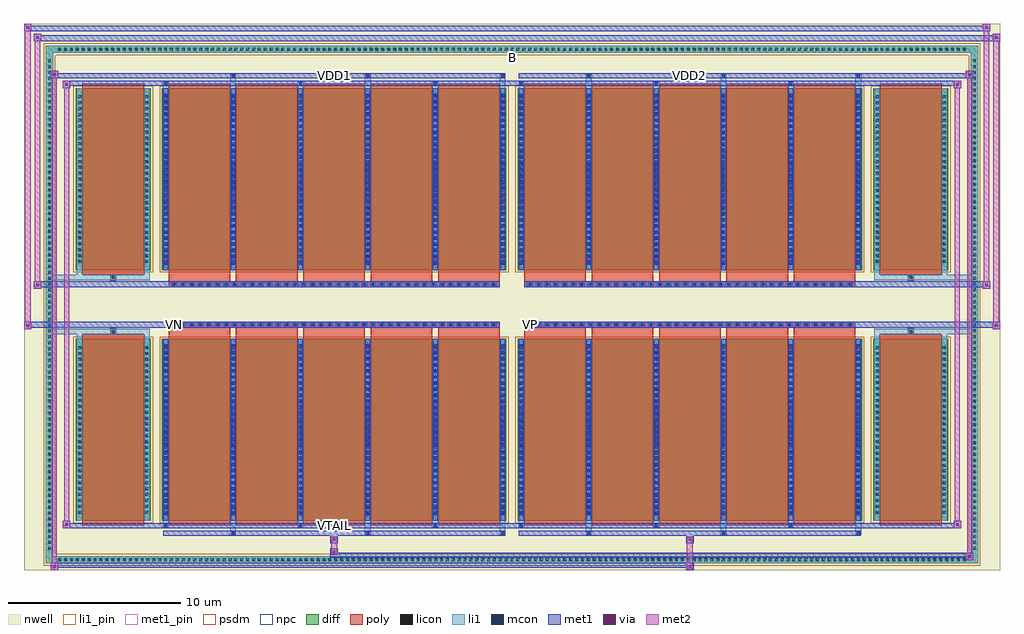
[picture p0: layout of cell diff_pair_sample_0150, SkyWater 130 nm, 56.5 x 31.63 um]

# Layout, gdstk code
import gdstk
lib = gdstk.Library(unit=1e-6, precision=5e-09)
def R(c, l, rs):  # rectangles x0, y0, x1, y1
    for r in rs: c.add(gdstk.rectangle(r[:2], r[2:], *l))
def A(c, l, x, y, w, h, nx, ny, dx, dy):  # array of equal rectangles
    R(c, l, [(x+i*dx, y+j*dy, x+i*dx+w, y+j*dy+h) for i in range(nx) for j in range(ny)])
def P(c, l, *ps):  # polygons
    for p in ps: c.add(gdstk.Polygon(p, *l))
nwell = (64, 20)
diff = (65, 20)
poly = (66, 20)
licon = (66, 44)
li1_pin = (67, 16)
li1 = (67, 20)
mcon = (67, 44)
met1_pin = (68, 16)
met1 = (68, 20)
via = (68, 44)
met2 = (69, 20)
psdm = (94, 20)
npc = (95, 20)

diff_pair_sample_0150 = lib.new_cell('diff_pair_sample_0150')
R(diff_pair_sample_0150, nwell, [(-28.25,-15.38,28.25,16.25), (-25.57,-13.57,-0.01,-0.805), (0.01,-13.57,25.57,-0.805), (-25.57,0.805,-0.01,13.57), (0.01,0.805,25.57,13.57)])
A(diff_pair_sample_0150, diff, -26.385, -14.98, 0.41, 0.41, 155, 2, 0.34, 29.55)
A(diff_pair_sample_0150, diff, -26.98, -14.315, 0.41, 0.41, 1, 84, 0, 0.34)
A(diff_pair_sample_0150, diff, 26.57, -14.315, 0.41, 0.41, 1, 84, 0, 0.34)
R(diff_pair_sample_0150, diff, [(-26.385,-14.98,26.385,-14.57), (-26.98,-14.315,-26.57,14.315), (26.57,-14.315,26.98,14.315), (-25.26,-12.525,-20.91,-1.985), (-20.27,-12.525,-0.32,-1.985), (0.32,-12.525,20.27,-1.985), (20.91,-12.525,25.26,-1.985), (-25.26,1.985,-20.91,12.525), (-20.27,1.985,-0.32,12.525), (0.32,1.985,20.27,12.525), (20.91,1.985,25.26,12.525), (-26.385,14.57,26.385,14.98)])
P(diff_pair_sample_0150, diff, [(26.98,14.98),(-26.98,14.98),(-26.98,-14.57),(-26.57,-14.57),(-26.57,14.57),(26.57,14.57),(26.57,-14.57),(-26.57,-14.57),(-26.98,-14.57),(-26.98,-14.98),(26.98,-14.98)])
A(diff_pair_sample_0150, poly, -19.88, -12.775, 3.57, 11.04, 5, 2, 3.9, 14.51)
A(diff_pair_sample_0150, poly, 0.71, -12.775, 3.57, 11.04, 5, 2, 3.9, 14.51)
A(diff_pair_sample_0150, poly, -19.88, -1.735, 3.57, 0.4, 5, 2, 3.9, 3.07)
A(diff_pair_sample_0150, poly, 0.71, -1.735, 3.57, 0.4, 5, 2, 3.9, 3.07)
A(diff_pair_sample_0150, poly, -19.71, -1.335, 0.33, 0.33, 38, 2, 0.5, 2.34)
A(diff_pair_sample_0150, poly, 0.88, -1.335, 0.33, 0.33, 38, 2, 0.5, 2.34)
R(diff_pair_sample_0150, poly, [(-24.87,-12.775,-21.3,-1.735), (21.3,-12.775,24.87,-1.735), (-23.25,-1.735,-22.92,-1.405), (-23.25,-1.735,-22.92,-1.405), (22.92,-1.735,23.25,-1.405), (22.92,-1.735,23.25,-1.405), (-19.88,-1.335,-0.71,-1.005), (0.71,-1.335,19.88,-1.005), (-19.88,1.005,-0.71,1.335), (0.71,1.005,19.88,1.335), (-23.25,1.405,-22.92,1.735), (-23.25,1.405,-22.92,1.735), (22.92,1.405,23.25,1.735), (22.92,1.405,23.25,1.735), (-24.87,1.735,-21.3,12.775), (21.3,1.735,24.87,12.775)])
A(diff_pair_sample_0150, licon, -26.265, -14.86, 0.17, 0.17, 155, 2, 0.34, 29.55)
A(diff_pair_sample_0150, licon, -26.86, -14.195, 0.17, 0.17, 1, 84, 0, 0.34)
A(diff_pair_sample_0150, licon, 26.69, -14.195, 0.17, 0.17, 1, 84, 0, 0.34)
A(diff_pair_sample_0150, licon, -25.12, -12.1, 0.17, 0.17, 1, 29, 0, 0.34)
A(diff_pair_sample_0150, licon, -21.22, -12.1, 0.17, 0.17, 1, 29, 0, 0.34)
A(diff_pair_sample_0150, licon, -20.13, -12.1, 0.17, 0.17, 6, 29, 3.9, 0.34)
A(diff_pair_sample_0150, licon, 0.46, -12.1, 0.17, 0.17, 6, 29, 3.9, 0.34)
A(diff_pair_sample_0150, licon, 21.05, -12.1, 0.17, 0.17, 1, 29, 0, 0.34)
A(diff_pair_sample_0150, licon, 24.95, -12.1, 0.17, 0.17, 1, 29, 0, 0.34)
A(diff_pair_sample_0150, licon, -19.63, -1.255, 0.17, 0.17, 38, 2, 0.5, 2.34)
A(diff_pair_sample_0150, licon, 0.96, -1.255, 0.17, 0.17, 38, 2, 0.5, 2.34)
A(diff_pair_sample_0150, licon, -25.12, 2.41, 0.17, 0.17, 1, 29, 0, 0.34)
A(diff_pair_sample_0150, licon, -21.22, 2.41, 0.17, 0.17, 1, 29, 0, 0.34)
A(diff_pair_sample_0150, licon, -20.13, 2.41, 0.17, 0.17, 6, 29, 3.9, 0.34)
A(diff_pair_sample_0150, licon, 0.46, 2.41, 0.17, 0.17, 6, 29, 3.9, 0.34)
A(diff_pair_sample_0150, licon, 21.05, 2.41, 0.17, 0.17, 1, 29, 0, 0.34)
A(diff_pair_sample_0150, licon, 24.95, 2.41, 0.17, 0.17, 1, 29, 0, 0.34)
R(diff_pair_sample_0150, licon, [(-23.17,-1.655,-23,-1.485), (23,-1.655,23.17,-1.485), (-23.17,1.485,-23,1.655), (23,1.485,23.17,1.655)])
R(diff_pair_sample_0150, li1_pin, [(-0.25,14.07,0.25,14.57)])
A(diff_pair_sample_0150, li1, -26.345, -14.94, 0.33, 0.33, 155, 2, 0.34, 29.55)
A(diff_pair_sample_0150, li1, -26.94, -14.275, 0.33, 0.33, 1, 84, 0, 0.34)
A(diff_pair_sample_0150, li1, 26.61, -14.275, 0.33, 0.33, 1, 84, 0, 0.34)
A(diff_pair_sample_0150, li1, -16.31, -13.33, 0.33, 0.805, 3, 2, 7.8, 25.855)
A(diff_pair_sample_0150, li1, -16.23, -13.33, 0.17, 0.17, 3, 2, 7.8, 26.49)
A(diff_pair_sample_0150, li1, 4.28, -13.33, 0.33, 0.805, 3, 2, 7.8, 25.855)
A(diff_pair_sample_0150, li1, 4.36, -13.33, 0.17, 0.17, 3, 2, 7.8, 26.49)
A(diff_pair_sample_0150, li1, -20.21, -12.9, 0.33, 0.375, 3, 2, 7.8, 25.425)
A(diff_pair_sample_0150, li1, -20.13, -12.9, 0.17, 0.17, 3, 2, 7.8, 25.63)
A(diff_pair_sample_0150, li1, 0.38, -12.9, 0.33, 0.375, 3, 2, 7.8, 25.425)
A(diff_pair_sample_0150, li1, 0.46, -12.9, 0.17, 0.17, 3, 2, 7.8, 25.63)
A(diff_pair_sample_0150, li1, -20.21, -12.525, 0.33, 10.54, 6, 2, 3.9, 14.51)
A(diff_pair_sample_0150, li1, 0.38, -12.525, 0.33, 10.54, 6, 2, 3.9, 14.51)
A(diff_pair_sample_0150, li1, -20.13, -12.2, 0.17, 0.17, 6, 28, 3.9, 0.36)
A(diff_pair_sample_0150, li1, -20.13, -12.2, 0.17, 9.89, 6, 2, 3.9, 14.51)
A(diff_pair_sample_0150, li1, 0.46, -12.2, 0.17, 0.17, 6, 28, 3.9, 0.36)
A(diff_pair_sample_0150, li1, 0.46, -12.2, 0.17, 9.89, 6, 2, 3.9, 14.51)
A(diff_pair_sample_0150, li1, -25.2, -12.18, 0.33, 0.33, 1, 29, 0, 0.34)
A(diff_pair_sample_0150, li1, -21.3, -12.18, 0.33, 0.33, 1, 29, 0, 0.34)
A(diff_pair_sample_0150, li1, -20.21, -12.18, 0.33, 0.33, 6, 29, 3.9, 0.34)
A(diff_pair_sample_0150, li1, 0.38, -12.18, 0.33, 0.33, 6, 29, 3.9, 0.34)
A(diff_pair_sample_0150, li1, 20.97, -12.18, 0.33, 0.33, 1, 29, 0, 0.34)
A(diff_pair_sample_0150, li1, 24.87, -12.18, 0.33, 0.33, 1, 29, 0, 0.34)
A(diff_pair_sample_0150, li1, -19.71, -1.335, 0.33, 0.33, 38, 2, 0.5, 2.34)
A(diff_pair_sample_0150, li1, 0.88, -1.335, 0.33, 0.33, 38, 2, 0.5, 2.34)
A(diff_pair_sample_0150, li1, -20.13, 2.31, 0.17, 0.17, 6, 28, 3.9, 0.36)
A(diff_pair_sample_0150, li1, 0.46, 2.31, 0.17, 0.17, 6, 28, 3.9, 0.36)
A(diff_pair_sample_0150, li1, -25.2, 2.33, 0.33, 0.33, 1, 29, 0, 0.34)
A(diff_pair_sample_0150, li1, -21.3, 2.33, 0.33, 0.33, 1, 29, 0, 0.34)
A(diff_pair_sample_0150, li1, -20.21, 2.33, 0.33, 0.33, 6, 29, 3.9, 0.34)
A(diff_pair_sample_0150, li1, 0.38, 2.33, 0.33, 0.33, 6, 29, 3.9, 0.34)
A(diff_pair_sample_0150, li1, 20.97, 2.33, 0.33, 0.33, 1, 29, 0, 0.34)
A(diff_pair_sample_0150, li1, 24.87, 2.33, 0.33, 0.33, 1, 29, 0, 0.34)
R(diff_pair_sample_0150, li1, [(-26.98,-14.98,-26.57,-14.57), (-26.98,-14.98,-26.57,-14.57), (-26.57,-14.98,26.57,-14.57), (26.57,-14.98,26.98,-14.57), (26.57,-14.98,26.98,-14.57), (-26.98,-14.57,-26.57,14.57), (26.57,-14.57,26.98,14.57), (-25.2,-12.525,-24.87,-1.985), (-21.3,-12.525,-20.97,-1.985), (20.97,-12.525,21.3,-1.985), (24.87,-12.525,25.2,-1.985), (-25.2,-1.985,-24.87,-1.405), (-21.3,-1.985,-20.97,-1.405), (20.97,-1.985,21.3,-1.405), (24.87,-1.985,25.2,-1.405), (-26.98,-1.735,-23.25,-1.405), (-25.2,-1.735,-23.25,-1.405), (-23.25,-1.735,-22.92,-1.405), (-22.92,-1.735,-20.97,-1.405), (20.97,-1.735,22.92,-1.405), (22.92,-1.735,23.25,-1.405), (22.92,-1.735,26.98,-1.405), (23.25,-1.735,25.2,-1.405), (-26.98,1.405,-23.25,1.735), (-25.2,1.405,-23.25,1.735), (-25.2,1.405,-24.87,1.985), (-23.25,1.405,-22.92,1.735), (-22.92,1.405,-20.97,1.735), (-21.3,1.405,-20.97,1.985), (20.97,1.405,22.92,1.735), (20.97,1.405,21.3,1.985), (22.92,1.405,23.25,1.735), (22.92,1.405,26.98,1.735), (23.25,1.405,25.2,1.735), (24.87,1.405,25.2,1.985), (-25.2,1.985,-24.87,12.525), (-21.3,1.985,-20.97,12.525), (20.97,1.985,21.3,12.525), (24.87,1.985,25.2,12.525), (-26.98,14.57,-26.57,14.98), (-26.98,14.57,-26.57,14.98), (-26.57,14.57,26.57,14.98), (26.57,14.57,26.98,14.98), (26.57,14.57,26.98,14.98)])
A(diff_pair_sample_0150, mcon, -16.23, -13.33, 0.17, 0.17, 3, 2, 7.8, 26.49)
A(diff_pair_sample_0150, mcon, 4.36, -13.33, 0.17, 0.17, 3, 2, 7.8, 26.49)
A(diff_pair_sample_0150, mcon, -20.13, -12.9, 0.17, 0.17, 3, 2, 7.8, 25.63)
A(diff_pair_sample_0150, mcon, 0.46, -12.9, 0.17, 0.17, 3, 2, 7.8, 25.63)
A(diff_pair_sample_0150, mcon, -20.13, -12.2, 0.17, 0.17, 6, 28, 3.9, 0.36)
A(diff_pair_sample_0150, mcon, 0.46, -12.2, 0.17, 0.17, 6, 28, 3.9, 0.36)
A(diff_pair_sample_0150, mcon, -19.63, -1.255, 0.17, 0.17, 38, 2, 0.5, 2.34)
A(diff_pair_sample_0150, mcon, 0.96, -1.255, 0.17, 0.17, 38, 2, 0.5, 2.34)
A(diff_pair_sample_0150, mcon, -20.13, 2.31, 0.17, 0.17, 6, 28, 3.9, 0.36)
A(diff_pair_sample_0150, mcon, 0.46, 2.31, 0.17, 0.17, 6, 28, 3.9, 0.36)
R(diff_pair_sample_0150, met1_pin, [(-10.43,-12.94,-10.16,-12.67), (-19.68,-1.295,-19.41,-1.025), (0.91,-1.295,1.18,-1.025), (-10.43,13.12,-10.16,13.39), (10.16,13.12,10.43,13.39)])
A(diff_pair_sample_0150, met1, -16.29, -13.39, 0.29, 0.29, 3, 2, 7.8, 26.49)
A(diff_pair_sample_0150, met1, 4.3, -13.39, 0.29, 0.29, 3, 2, 7.8, 26.49)
A(diff_pair_sample_0150, met1, -20.19, -12.96, 0.29, 0.29, 3, 2, 7.8, 25.63)
A(diff_pair_sample_0150, met1, 0.4, -12.96, 0.29, 0.29, 3, 2, 7.8, 25.63)
A(diff_pair_sample_0150, met1, -20.19, -12.525, 0.29, 10.54, 6, 2, 3.9, 14.51)
A(diff_pair_sample_0150, met1, 0.4, -12.525, 0.29, 10.54, 6, 2, 3.9, 14.51)
A(diff_pair_sample_0150, met1, -20.19, -12.26, 0.29, 0.29, 6, 28, 3.9, 0.36)
A(diff_pair_sample_0150, met1, 0.4, -12.26, 0.29, 0.29, 6, 28, 3.9, 0.36)
A(diff_pair_sample_0150, met1, -19.69, -1.315, 0.29, 0.29, 38, 2, 0.5, 2.34)
A(diff_pair_sample_0150, met1, 0.9, -1.315, 0.29, 0.29, 38, 2, 0.5, 2.34)
A(diff_pair_sample_0150, met1, -20.19, 2.25, 0.29, 0.29, 6, 28, 3.9, 0.36)
A(diff_pair_sample_0150, met1, 0.4, 2.25, 0.29, 0.29, 6, 28, 3.9, 0.36)
R(diff_pair_sample_0150, met1, [(-26.71,-15.38,-26.28,-14.95), (10.08,-15.38,10.51,-14.95), (-26.71,-15.24,10.51,-14.95), (26.28,-14.81,26.71,-14.38), (-10.51,-14.67,26.71,-14.38), (-10.51,-14.53,-10.08,-14.1), (-10.51,-13.82,-10.08,-13.39), (10.08,-13.82,10.51,-13.39), (-20.19,-13.39,-0.4,-13.1), (0.4,-13.39,20.19,-13.1), (-26,-12.96,-25.57,-12.53), (-26,-12.96,-20.19,-12.67), (-20.19,-12.96,-0.4,-12.67), (-0.4,-12.96,0.4,-12.67), (0.4,-12.96,20.19,-12.67), (20.19,-12.96,26,-12.67), (25.57,-12.96,26,-12.53), (-28.25,-1.435,-27.82,-1.005), (27.82,-1.435,28.25,-1.005), (-28.25,-1.335,-0.71,-1.005), (-19.88,-1.335,-0.71,-1.005), (0.71,-1.335,19.88,-1.005), (0.71,-1.335,28.25,-1.005), (-27.68,0.905,-27.25,1.335), (27.25,0.905,27.68,1.335), (-27.68,1.005,-19.88,1.335), (-19.88,1.005,-0.71,1.335), (0.71,1.005,19.88,1.335), (19.88,1.005,27.68,1.335), (-26,12.53,-25.57,12.96), (25.57,12.53,26,12.96), (-26,12.67,-20.19,12.96), (-20.19,12.67,-0.4,12.96), (-0.4,12.67,0.4,12.96), (0.4,12.67,20.19,12.96), (20.19,12.67,26,12.96), (-26.71,13.1,-26.28,13.53), (-26.71,13.1,-20.19,13.39), (-20.19,13.1,-0.4,13.39), (0.4,13.1,20.19,13.39), (20.19,13.1,26.71,13.39), (26.28,13.1,26.71,13.53), (-27.68,15.25,-27.25,15.68), (-27.68,15.25,-25.57,15.58), (-25.57,15.25,25.57,15.58), (25.57,15.25,28.25,15.58), (27.82,15.25,28.25,15.68), (-28.25,15.82,-27.82,16.25), (-28.25,15.82,-25.57,16.15), (-25.57,15.82,25.57,16.15), (25.57,15.82,27.68,16.15), (27.25,15.82,27.68,16.25)])
R(diff_pair_sample_0150, via, [(-26.57,-15.24,-26.42,-15.09), (10.22,-15.24,10.37,-15.09), (26.42,-14.67,26.57,-14.52), (-10.37,-14.39,-10.22,-14.24), (-10.37,-13.68,-10.22,-13.53), (10.22,-13.68,10.37,-13.53), (-25.86,-12.82,-25.71,-12.67), (25.71,-12.82,25.86,-12.67), (-28.11,-1.295,-27.96,-1.145), (27.96,-1.295,28.11,-1.145), (-27.54,1.045,-27.39,1.195), (27.39,1.045,27.54,1.195), (-25.86,12.67,-25.71,12.82), (25.71,12.67,25.86,12.82), (-26.57,13.24,-26.42,13.39), (26.42,13.24,26.57,13.39), (-27.54,15.39,-27.39,15.54), (27.96,15.39,28.11,15.54), (-28.11,15.96,-27.96,16.11), (27.39,15.96,27.54,16.11)])
R(diff_pair_sample_0150, met2, [(-26.71,-15.38,-26.28,-14.95), (-26.64,-15.38,-26.35,13.53), (-26.35,-15.38,-26.28,-14.95), (-26.66,-15.33,-26.33,-15), (10.13,-15.33,10.46,-15), (10.13,-15,10.46,-13.77), (26.28,-14.81,26.71,-14.38), (26.35,-14.81,26.64,13.53), (26.64,-14.81,26.71,-14.38), (26.33,-14.76,26.66,-14.43), (-10.46,-14.48,-10.13,-14.15), (-10.46,-14.15,-10.13,-13.77), (-10.46,-13.77,-10.13,-13.44), (10.13,-13.77,10.46,-13.44), (-26,-12.96,-25.57,-12.53), (-25.93,-12.96,-25.64,12.96), (-25.64,-12.96,-25.57,-12.53), (25.57,-12.96,26,-12.53), (25.64,-12.96,25.93,12.96), (25.93,-12.96,26,-12.53), (-25.95,-12.91,-25.62,-12.58), (25.62,-12.91,25.95,-12.58), (-28.25,-1.435,-27.82,-1.005), (-28.2,-1.435,-27.87,16.25), (-27.87,-1.435,-27.82,-1.005), (27.82,-1.435,28.25,-1.005), (27.87,-1.435,28.2,15.68), (28.2,-1.435,28.25,-1.005), (-28.2,-1.385,-27.87,-1.055), (27.87,-1.385,28.2,-1.055), (-27.68,0.905,-27.25,1.335), (-27.63,0.905,-27.3,15.68), (-27.3,0.905,-27.25,1.335), (27.25,0.905,27.68,1.335), (27.3,0.905,27.63,16.25), (27.63,0.905,27.68,1.335), (-27.63,0.955,-27.3,1.285), (27.3,0.955,27.63,1.285), (-26,12.53,-25.57,12.96), (-25.64,12.53,-25.57,12.96), (25.57,12.53,26,12.96), (25.93,12.53,26,12.96), (-25.95,12.58,-25.62,12.91), (25.62,12.58,25.95,12.91), (-26.71,13.1,-26.28,13.53), (-26.35,13.1,-26.28,13.53), (26.28,13.1,26.71,13.53), (26.64,13.1,26.71,13.53), (-26.66,13.15,-26.33,13.48), (26.33,13.15,26.66,13.48), (-27.68,15.25,-27.25,15.68), (-27.3,15.25,-27.25,15.68), (27.82,15.25,28.25,15.68), (28.2,15.25,28.25,15.68), (-27.63,15.3,-27.3,15.63), (27.87,15.3,28.2,15.63), (-28.25,15.82,-27.82,16.25), (-27.87,15.82,-27.82,16.25), (27.25,15.82,27.68,16.25), (27.63,15.82,27.68,16.25), (-28.2,15.87,-27.87,16.2), (27.3,15.87,27.63,16.2)])
R(diff_pair_sample_0150, psdm, [(-25.39,-12.655,-20.78,-1.855), (-20.4,-12.655,-0.19,-1.855), (0.19,-12.655,20.4,-1.855), (20.78,-12.655,25.39,-1.855), (-25.39,1.855,-20.78,12.655), (-20.4,1.855,-0.19,12.655), (0.19,1.855,20.4,12.655), (20.78,1.855,25.39,12.655)])
P(diff_pair_sample_0150, psdm, [(27.11,15.11),(-27.11,15.11),(-27.11,-14.44),(-26.44,-14.44),(-26.44,14.44),(26.44,14.44),(26.44,-14.44),(-26.44,-14.44),(-27.11,-14.44),(-27.11,-15.11),(27.11,-15.11)])
A(diff_pair_sample_0150, npc, -19.73, -1.355, 0.37, 0.37, 38, 2, 0.5, 2.34)
A(diff_pair_sample_0150, npc, 0.86, -1.355, 0.37, 0.37, 38, 2, 0.5, 2.34)
R(diff_pair_sample_0150, npc, [(-23.27,-1.755,-22.9,-1.385), (22.9,-1.755,23.27,-1.385), (-19.73,-1.355,-18.86,-0.985), (-19.73,-1.355,-18.86,-0.985), (-19.23,-1.355,-18.36,-0.985), (-19.23,-1.355,-18.36,-0.985), (-18.73,-1.355,-17.86,-0.985), (-18.73,-1.355,-17.86,-0.985), (-18.23,-1.355,-17.36,-0.985), (-18.23,-1.355,-17.36,-0.985), (-17.73,-1.355,-16.86,-0.985), (-17.73,-1.355,-16.86,-0.985), (-17.23,-1.355,-16.36,-0.985), (-17.23,-1.355,-16.36,-0.985), (-16.73,-1.355,-15.86,-0.985), (-16.73,-1.355,-15.86,-0.985), (-16.23,-1.355,-15.36,-0.985), (-16.23,-1.355,-15.36,-0.985), (-15.73,-1.355,-14.86,-0.985), (-15.73,-1.355,-14.86,-0.985), (-15.23,-1.355,-14.36,-0.985), (-15.23,-1.355,-14.36,-0.985), (-14.73,-1.355,-13.86,-0.985), (-14.73,-1.355,-13.86,-0.985), (-14.23,-1.355,-13.36,-0.985), (-14.23,-1.355,-13.36,-0.985), (-13.73,-1.355,-12.86,-0.985), (-13.73,-1.355,-12.86,-0.985), (-13.23,-1.355,-12.36,-0.985), (-13.23,-1.355,-12.36,-0.985), (-12.73,-1.355,-11.86,-0.985), (-12.73,-1.355,-11.86,-0.985), (-12.23,-1.355,-11.36,-0.985), (-12.23,-1.355,-11.36,-0.985), (-11.73,-1.355,-10.86,-0.985), (-11.73,-1.355,-10.86,-0.985), (-11.23,-1.355,-10.36,-0.985), (-11.23,-1.355,-10.36,-0.985), (-10.73,-1.355,-9.86,-0.985), (-10.73,-1.355,-9.86,-0.985), (-10.23,-1.355,-9.36,-0.985), (-10.23,-1.355,-9.36,-0.985), (-9.73,-1.355,-8.86,-0.985), (-9.73,-1.355,-8.86,-0.985), (-9.23,-1.355,-8.36,-0.985), (-9.23,-1.355,-8.36,-0.985), (-8.73,-1.355,-7.86,-0.985), (-8.73,-1.355,-7.86,-0.985), (-8.23,-1.355,-7.36,-0.985), (-8.23,-1.355,-7.36,-0.985), (-7.73,-1.355,-6.86,-0.985), (-7.73,-1.355,-6.86,-0.985), (-7.23,-1.355,-6.36,-0.985), (-7.23,-1.355,-6.36,-0.985), (-6.73,-1.355,-5.86,-0.985), (-6.73,-1.355,-5.86,-0.985), (-6.23,-1.355,-5.36,-0.985), (-6.23,-1.355,-5.36,-0.985), (-5.73,-1.355,-4.86,-0.985), (-5.73,-1.355,-4.86,-0.985), (-5.23,-1.355,-4.36,-0.985), (-5.23,-1.355,-4.36,-0.985), (-4.73,-1.355,-3.86,-0.985), (-4.73,-1.355,-3.86,-0.985), (-4.23,-1.355,-3.36,-0.985), (-4.23,-1.355,-3.36,-0.985), (-3.73,-1.355,-2.86,-0.985), (-3.73,-1.355,-2.86,-0.985), (-3.23,-1.355,-2.36,-0.985), (-3.23,-1.355,-2.36,-0.985), (-2.73,-1.355,-1.86,-0.985), (-2.73,-1.355,-1.86,-0.985), (-2.23,-1.355,-1.36,-0.985), (-2.23,-1.355,-1.36,-0.985), (-1.73,-1.355,-0.86,-0.985), (-1.73,-1.355,-0.86,-0.985), (0.86,-1.355,1.73,-0.985), (0.86,-1.355,1.73,-0.985), (1.36,-1.355,2.23,-0.985), (1.36,-1.355,2.23,-0.985), (1.86,-1.355,2.73,-0.985), (1.86,-1.355,2.73,-0.985), (2.36,-1.355,3.23,-0.985), (2.36,-1.355,3.23,-0.985), (2.86,-1.355,3.73,-0.985), (2.86,-1.355,3.73,-0.985), (3.36,-1.355,4.23,-0.985), (3.36,-1.355,4.23,-0.985), (3.86,-1.355,4.73,-0.985), (3.86,-1.355,4.73,-0.985), (4.36,-1.355,5.23,-0.985), (4.36,-1.355,5.23,-0.985), (4.86,-1.355,5.73,-0.985), (4.86,-1.355,5.73,-0.985), (5.36,-1.355,6.23,-0.985), (5.36,-1.355,6.23,-0.985), (5.86,-1.355,6.73,-0.985), (5.86,-1.355,6.73,-0.985), (6.36,-1.355,7.23,-0.985), (6.36,-1.355,7.23,-0.985), (6.86,-1.355,7.73,-0.985), (6.86,-1.355,7.73,-0.985), (7.36,-1.355,8.23,-0.985), (7.36,-1.355,8.23,-0.985), (7.86,-1.355,8.73,-0.985), (7.86,-1.355,8.73,-0.985), (8.36,-1.355,9.23,-0.985), (8.36,-1.355,9.23,-0.985), (8.86,-1.355,9.73,-0.985), (8.86,-1.355,9.73,-0.985), (9.36,-1.355,10.23,-0.985), (9.36,-1.355,10.23,-0.985), (9.86,-1.355,10.73,-0.985), (9.86,-1.355,10.73,-0.985), (10.36,-1.355,11.23,-0.985), (10.36,-1.355,11.23,-0.985), (10.86,-1.355,11.73,-0.985), (10.86,-1.355,11.73,-0.985), (11.36,-1.355,12.23,-0.985), (11.36,-1.355,12.23,-0.985), (11.86,-1.355,12.73,-0.985), (11.86,-1.355,12.73,-0.985), (12.36,-1.355,13.23,-0.985), (12.36,-1.355,13.23,-0.985), (12.86,-1.355,13.73,-0.985), (12.86,-1.355,13.73,-0.985), (13.36,-1.355,14.23,-0.985), (13.36,-1.355,14.23,-0.985), (13.86,-1.355,14.73,-0.985), (13.86,-1.355,14.73,-0.985), (14.36,-1.355,15.23,-0.985), (14.36,-1.355,15.23,-0.985), (14.86,-1.355,15.73,-0.985), (14.86,-1.355,15.73,-0.985), (15.36,-1.355,16.23,-0.985), (15.36,-1.355,16.23,-0.985), (15.86,-1.355,16.73,-0.985), (15.86,-1.355,16.73,-0.985), (16.36,-1.355,17.23,-0.985), (16.36,-1.355,17.23,-0.985), (16.86,-1.355,17.73,-0.985), (16.86,-1.355,17.73,-0.985), (17.36,-1.355,18.23,-0.985), (17.36,-1.355,18.23,-0.985), (17.86,-1.355,18.73,-0.985), (17.86,-1.355,18.73,-0.985), (18.36,-1.355,19.23,-0.985), (18.36,-1.355,19.23,-0.985), (18.86,-1.355,19.73,-0.985), (18.86,-1.355,19.73,-0.985), (-19.73,0.985,-18.86,1.355), (-19.73,0.985,-18.86,1.355), (-19.23,0.985,-18.36,1.355), (-19.23,0.985,-18.36,1.355), (-18.73,0.985,-17.86,1.355), (-18.73,0.985,-17.86,1.355), (-18.23,0.985,-17.36,1.355), (-18.23,0.985,-17.36,1.355), (-17.73,0.985,-16.86,1.355), (-17.73,0.985,-16.86,1.355), (-17.23,0.985,-16.36,1.355), (-17.23,0.985,-16.36,1.355), (-16.73,0.985,-15.86,1.355), (-16.73,0.985,-15.86,1.355), (-16.23,0.985,-15.36,1.355), (-16.23,0.985,-15.36,1.355), (-15.73,0.985,-14.86,1.355), (-15.73,0.985,-14.86,1.355), (-15.23,0.985,-14.36,1.355), (-15.23,0.985,-14.36,1.355), (-14.73,0.985,-13.86,1.355), (-14.73,0.985,-13.86,1.355), (-14.23,0.985,-13.36,1.355), (-14.23,0.985,-13.36,1.355), (-13.73,0.985,-12.86,1.355), (-13.73,0.985,-12.86,1.355), (-13.23,0.985,-12.36,1.355), (-13.23,0.985,-12.36,1.355), (-12.73,0.985,-11.86,1.355), (-12.73,0.985,-11.86,1.355), (-12.23,0.985,-11.36,1.355), (-12.23,0.985,-11.36,1.355), (-11.73,0.985,-10.86,1.355), (-11.73,0.985,-10.86,1.355), (-11.23,0.985,-10.36,1.355), (-11.23,0.985,-10.36,1.355), (-10.73,0.985,-9.86,1.355), (-10.73,0.985,-9.86,1.355), (-10.23,0.985,-9.36,1.355), (-10.23,0.985,-9.36,1.355), (-9.73,0.985,-8.86,1.355), (-9.73,0.985,-8.86,1.355), (-9.23,0.985,-8.36,1.355), (-9.23,0.985,-8.36,1.355), (-8.73,0.985,-7.86,1.355), (-8.73,0.985,-7.86,1.355), (-8.23,0.985,-7.36,1.355), (-8.23,0.985,-7.36,1.355), (-7.73,0.985,-6.86,1.355), (-7.73,0.985,-6.86,1.355), (-7.23,0.985,-6.36,1.355), (-7.23,0.985,-6.36,1.355), (-6.73,0.985,-5.86,1.355), (-6.73,0.985,-5.86,1.355), (-6.23,0.985,-5.36,1.355), (-6.23,0.985,-5.36,1.355), (-5.73,0.985,-4.86,1.355), (-5.73,0.985,-4.86,1.355), (-5.23,0.985,-4.36,1.355), (-5.23,0.985,-4.36,1.355), (-4.73,0.985,-3.86,1.355), (-4.73,0.985,-3.86,1.355), (-4.23,0.985,-3.36,1.355), (-4.23,0.985,-3.36,1.355), (-3.73,0.985,-2.86,1.355), (-3.73,0.985,-2.86,1.355), (-3.23,0.985,-2.36,1.355), (-3.23,0.985,-2.36,1.355), (-2.73,0.985,-1.86,1.355), (-2.73,0.985,-1.86,1.355), (-2.23,0.985,-1.36,1.355), (-2.23,0.985,-1.36,1.355), (-1.73,0.985,-0.86,1.355), (-1.73,0.985,-0.86,1.355), (0.86,0.985,1.73,1.355), (0.86,0.985,1.73,1.355), (1.36,0.985,2.23,1.355), (1.36,0.985,2.23,1.355), (1.86,0.985,2.73,1.355), (1.86,0.985,2.73,1.355), (2.36,0.985,3.23,1.355), (2.36,0.985,3.23,1.355), (2.86,0.985,3.73,1.355), (2.86,0.985,3.73,1.355), (3.36,0.985,4.23,1.355), (3.36,0.985,4.23,1.355), (3.86,0.985,4.73,1.355), (3.86,0.985,4.73,1.355), (4.36,0.985,5.23,1.355), (4.36,0.985,5.23,1.355), (4.86,0.985,5.73,1.355), (4.86,0.985,5.73,1.355), (5.36,0.985,6.23,1.355), (5.36,0.985,6.23,1.355), (5.86,0.985,6.73,1.355), (5.86,0.985,6.73,1.355), (6.36,0.985,7.23,1.355), (6.36,0.985,7.23,1.355), (6.86,0.985,7.73,1.355), (6.86,0.985,7.73,1.355), (7.36,0.985,8.23,1.355), (7.36,0.985,8.23,1.355), (7.86,0.985,8.73,1.355), (7.86,0.985,8.73,1.355), (8.36,0.985,9.23,1.355), (8.36,0.985,9.23,1.355), (8.86,0.985,9.73,1.355), (8.86,0.985,9.73,1.355), (9.36,0.985,10.23,1.355), (9.36,0.985,10.23,1.355), (9.86,0.985,10.73,1.355), (9.86,0.985,10.73,1.355), (10.36,0.985,11.23,1.355), (10.36,0.985,11.23,1.355), (10.86,0.985,11.73,1.355), (10.86,0.985,11.73,1.355), (11.36,0.985,12.23,1.355), (11.36,0.985,12.23,1.355), (11.86,0.985,12.73,1.355), (11.86,0.985,12.73,1.355), (12.36,0.985,13.23,1.355), (12.36,0.985,13.23,1.355), (12.86,0.985,13.73,1.355), (12.86,0.985,13.73,1.355), (13.36,0.985,14.23,1.355), (13.36,0.985,14.23,1.355), (13.86,0.985,14.73,1.355), (13.86,0.985,14.73,1.355), (14.36,0.985,15.23,1.355), (14.36,0.985,15.23,1.355), (14.86,0.985,15.73,1.355), (14.86,0.985,15.73,1.355), (15.36,0.985,16.23,1.355), (15.36,0.985,16.23,1.355), (15.86,0.985,16.73,1.355), (15.86,0.985,16.73,1.355), (16.36,0.985,17.23,1.355), (16.36,0.985,17.23,1.355), (16.86,0.985,17.73,1.355), (16.86,0.985,17.73,1.355), (17.36,0.985,18.23,1.355), (17.36,0.985,18.23,1.355), (17.86,0.985,18.73,1.355), (17.86,0.985,18.73,1.355), (18.36,0.985,19.23,1.355), (18.36,0.985,19.23,1.355), (18.86,0.985,19.73,1.355), (18.86,0.985,19.73,1.355), (-23.27,1.385,-22.9,1.755), (22.9,1.385,23.27,1.755)])
diff_pair_sample_0150.add(gdstk.Label('VTAIL', (-10.295,-12.805), layer=68, texttype=5))
diff_pair_sample_0150.add(gdstk.Label('VN', (-19.545,-1.16), layer=68, texttype=5))
diff_pair_sample_0150.add(gdstk.Label('VP', (1.045,-1.16), layer=68, texttype=5))
diff_pair_sample_0150.add(gdstk.Label('B', (0,14.32), layer=67, texttype=5))
diff_pair_sample_0150.add(gdstk.Label('VDD2', (10.295,13.255), layer=68, texttype=5))
diff_pair_sample_0150.add(gdstk.Label('VDD1', (-10.295,13.255), layer=68, texttype=5))

lib.write_gds('diff_pair_sample_0150.gds')
